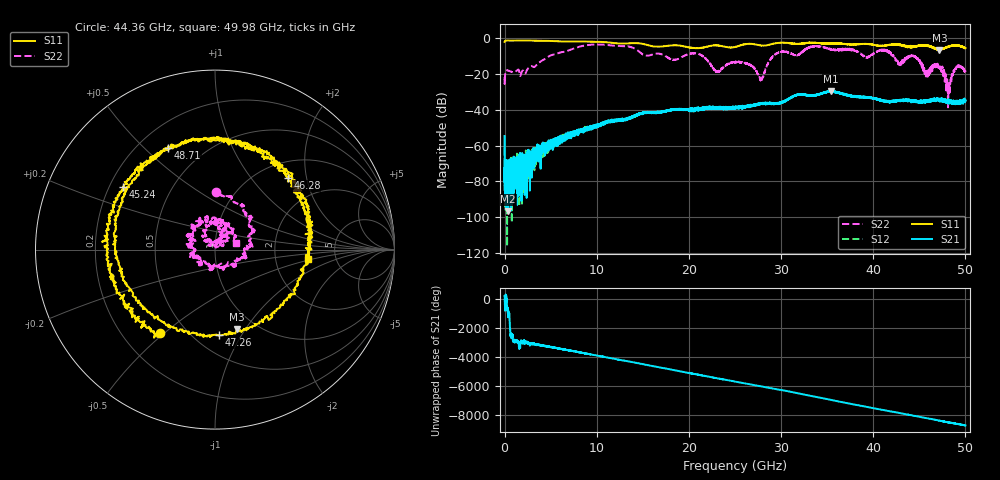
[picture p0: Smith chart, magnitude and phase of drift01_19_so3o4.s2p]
!Created with skrf (http://scikit-rf.org).
# Hz S RI R 50.0
!freq ReS11 ImS11 ReS21 ImS21 ReS12 ImS12 ReS22 ImS22
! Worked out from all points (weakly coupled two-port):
!   10001 points, 300 kHz to 50 GHz, reference 50 ohm
!   highest |S21| = -29.53 dB at 35.42 GHz (marker M1); lowest = -96.6 dB at 390.3 MHz (marker M2)
!   lowest |S11| = -6.7 dB at 47.18 GHz (marker M3), VSWR 2.71, Z = 40.6 - j45.9 ohm
!   |S11| at or under -10 dB: nowhere
!   |S22| runs from -38.7 to -3.6 dB; largest |S21 - S12| = 0.0039
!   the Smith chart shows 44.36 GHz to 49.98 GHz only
!   S11 on the Smith chart (normalised r, x): 44.36 GHz: 0.36, -0.48; 45.24 GHz: 0.26, +0.29; 46.28 GHz: 1.32, +1.55; 47.26 GHz: 0.66, -0.81; 48.71 GHz: 0.32, +0.59; 49.98 GHz: 3.10, -0.44
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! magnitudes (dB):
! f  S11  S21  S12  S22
! 300 kHz  -2.2  -54.7  -61.3  -21.9
! 390.3 MHz  -1.4  -96.6  -72.9  -18.2
! 8.335 GHz  -1.9  -51.4  -51.5  -4.5
! 16.67 GHz  -4.9  -41.4  -41.8  -8.7
! 20.96 GHz  -5.6  -39.6  -39.3  -8.7
! 23.07 GHz  -4.1  -38.6  -39.0  -18.6
! 25 GHz  -5.0  -38.6  -39.0  -13.6
! 27.84 GHz  -4.2  -36.6  -36.5  -22.8
! 29.47 GHz  -2.9  -36.7  -36.4  -8.8
! 33.34 GHz  -2.6  -32.2  -32.0  -4.7
! 35.42 GHz  -2.8  -29.5  -29.9  -6.2
! 41.67 GHz  -3.9  -35.6  -35.3  -7.7
! 42.84 GHz  -3.9  -35.0  -34.9  -13.8
! 44.36 GHz  -5.1  -35.4  -35.3  -9.9
! 45.24 GHz  -4.2  -35.6  -35.5  -14.4
! 46.28 GHz  -4.9  -34.9  -34.9  -16.3
! 47.18 GHz  -6.7  -34.6  -34.4  -15.3
! 47.26 GHz  -6.4  -34.3  -34.6  -17.1
! 48.12 GHz  -4.9  -35.8  -35.4  -35.1
! 48.71 GHz  -4.1  -36.0  -36.4  -18.3
! 49.98 GHz  -5.7  -35.4  -35.0  -18.3
! 50 GHz  -5.6  -34.8  -34.6  -18.4
